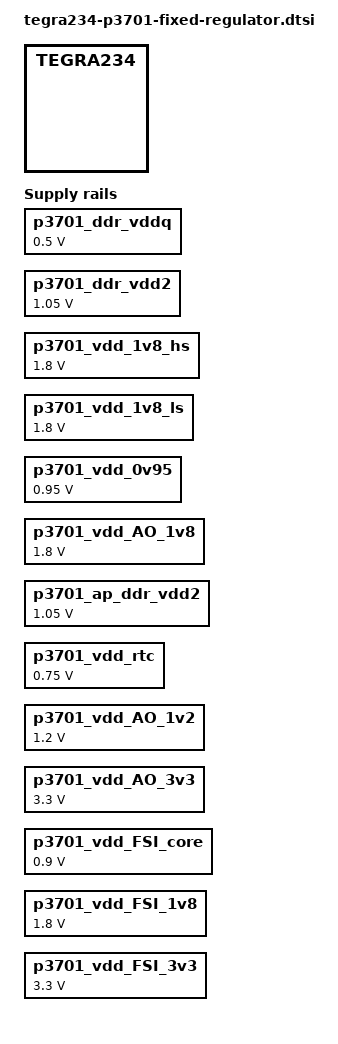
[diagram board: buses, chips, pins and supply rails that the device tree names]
/*
 * Copyright (c) 2021, NVIDIA CORPORATION.  All rights reserved.
 *
 * This program is free software; you can redistribute it and/or modify
 * it under the terms of the GNU General Public License as published by
 * the Free Software Foundation; either version 2 of the License, or
 * (at your option) any later version.
 *
 * This program is distributed in the hope that it will be useful, but WITHOUT
 * ANY WARRANTY; without even the implied warranty of MERCHANTABILITY or
 * FITNESS FOR A PARTICULAR PURPOSE.  See the GNU General Public License for
 * more details.
 */

#include "tegra234-platforms-simple-bus.dtsi"
/ {
	fixed-regulators {
		p3701_ddr_vddq: regulator@0 {
			compatible = "regulator-fixed";
			reg = <0>;
			regulator-name = "ddr-vddq-sw8";
			regulator-min-microvolt = <500000>;
			regulator-max-microvolt = <500000>;
			regulator-always-on;
		};
		p3701_ddr_vdd2: regulator@1 {
			compatible = "regulator-fixed";
			reg = <1>;
			regulator-name = "ddr-vdd2-sw7";
			regulator-min-microvolt = <1050000>;
			regulator-max-microvolt = <1050000>;
			regulator-always-on;
		};
		p3701_vdd_1v8_hs: regulator@2 {
			compatible = "regulator-fixed";
			reg = <2>;
			regulator-name = "vdd-1v8-hs-sw1";
			regulator-min-microvolt = <1800000>;
			regulator-max-microvolt = <1800000>;
			regulator-always-on;
		};
		p3701_vdd_1v8_ls: regulator@3 {
			compatible = "regulator-fixed";
			reg = <3>;
			regulator-name = "vdd-1v8-ls-sw5";
			regulator-min-microvolt = <1800000>;
			regulator-max-microvolt = <1800000>;
			regulator-always-on;
		};
		p3701_vdd_0v95: regulator@4 {
			compatible = "regulator-fixed";
			reg = <4>;
			regulator-name = "vdd-0v95-sw0";
			regulator-min-microvolt = <950000>;
			regulator-max-microvolt = <950000>;
			regulator-always-on;
		};
		p3701_vdd_AO_1v8: regulator@5 {
			compatible = "regulator-fixed";
			reg = <5>;
			regulator-name = "vdd-AO-1v8-sw2";
			regulator-min-microvolt = <1800000>;
			regulator-max-microvolt = <1800000>;
			regulator-always-on;
		};
		p3701_ap_ddr_vdd2: regulator@6 {
			compatible = "regulator-fixed";
			reg = <6>;
			regulator-name = "ap-ddr-vdd2-sw3";
			regulator-min-microvolt = <1050000>;
			regulator-max-microvolt = <1050000>;
			regulator-always-on;
		};
		p3701_vdd_rtc: regulator@7 {
			compatible = "regulator-fixed";
			reg = <7>;
			regulator-name = "vdd-rtc-sw4";
			regulator-min-microvolt = <750000>;
			regulator-max-microvolt = <750000>;
			regulator-always-on;
		};
		p3701_vdd_AO_1v2: regulator@8 {
			compatible = "regulator-fixed";
			reg = <8>;
			regulator-name = "vdd-AO-1v2-sw6";
			regulator-min-microvolt = <1200000>;
			regulator-max-microvolt = <1200000>;
			regulator-always-on;
		};
		p3701_vdd_AO_3v3: regulator@9 {
			compatible = "regulator-fixed";
			reg = <9>;
			regulator-name = "vdd-AO-3v3-sw10";
			regulator-min-microvolt = <3300000>;
			regulator-max-microvolt = <3300000>;
			regulator-always-on;
		};
		p3701_vdd_FSI_core: regulator@10 {
			compatible = "regulator-fixed";
			reg = <10>;
			regulator-name = "vdd-FSI-core-sw9";
			regulator-min-microvolt = <900000>;
			regulator-max-microvolt = <900000>;
			regulator-always-on;
		};
		p3701_vdd_FSI_1v8: regulator@11 {
			compatible = "regulator-fixed";
			reg = <11>;
			regulator-name = "vdd-FSI-1v8-ldo0";
			regulator-min-microvolt = <1800000>;
			regulator-max-microvolt = <1800000>;
			regulator-always-on;
		};
		p3701_vdd_FSI_3v3: regulator@12 {
			compatible = "regulator-fixed";
			reg = <12>;
			regulator-name = "vdd-FSI-3v3-ldo1";
			regulator-min-microvolt = <3300000>;
			regulator-max-microvolt = <3300000>;
			regulator-always-on;
		};
	};
};
